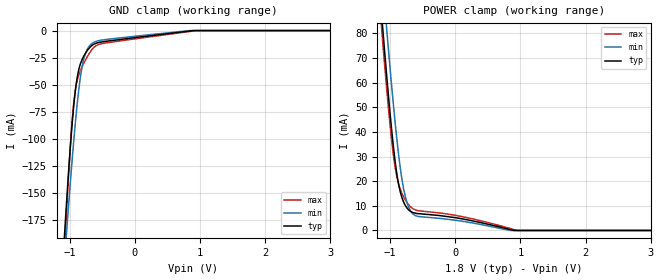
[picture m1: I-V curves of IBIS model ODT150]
| [Disclaimer]  This software code and all associated documentation, comments
| or other information (collectively "Software") is provided
| "AS IS" without warranty of any kind. MICRON TECHNOLOGY, INC.
| ("MTI") EXPRESSLY DISCLAIMS ALL WARRANTIES EXPRESS OR IMPLIED,
| INCLUDING BUT NOT LIMITED TO, NONINFRINGEMENT OF THIRD PARTY
| RIGHTS, AND ANY IMPLIED WARRANTIES OF MERCHANTABILITY OR
| FITNESS FOR ANY PARTICULAR PURPOSE. MTI DOES NOT WARRANT THAT
| THE SOFTWARE WILL MEET YOUR REQUIREMENTS, OR THAT THE
| OPERATION OF THE SOFTWARE WILL BE UNINTERRUPTED OR ERROR-FREE.
| FURTHERMORE, MTI DOES NOT MAKE ANY REPRESENTATIONS REGARDING
| THE USE OR THE RESULTS OF THE USE OF THE SOFTWARE IN TERMS OF
| ITS CORRECTNESS, ACCURACY, RELIABILITY, OR OTHERWISE. THE
| ENTIRE RISK ARISING OUT OF USE OR PERFORMANCE OF THE SOFTWARE
| REMAINS WITH YOU. IN NO EVENT SHALL MTI, ITS AFFILIATED
| COMPANIES OR THEIR SUPPLIERS BE LIABLE FOR ANY DIRECT,
| INDIRECT, CONSEQUENTIAL, INCIDENTAL, OR SPECIAL DAMAGES
| (INCLUDING, WITHOUT LIMITATION, DAMAGES FOR LOSS OF PROFITS,
| BUSINESS INTERRUPTION, OR LOSS OF INFORMATION) ARISING OUT OF
| YOUR USE OF OR INABILITY TO USE THE SOFTWARE, EVEN IF MTI HAS
| BEEN ADVISED OF THE POSSIBILITY OF SUCH DAMAGES. Because some
| jurisdictions prohibit the exclusion or limitation of
| liability for consequential or incidental damages, the above
| limitation may not apply to you.
| [Copyright] Copyright 2003 Micron Technology, Inc. All rights reserved.
| From u27_odt150.ibs, Micron Technology, Inc.
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|   MODEL ODT150
[Model]   ODT150
Model_type   Input
Vinl = 650.000mV
Vinh = 1.150V
|   typ   min   max
C_comp   3.81pF   3.43pF   4.21pF
| Note: C_comp increases when the ODT circuit is enabled.
[Model Spec]
| Input threshold voltage corners
Vinh   0.650V   0.600V   0.700V
Vinl   1.150V   1.100V   1.200V
[Voltage Range]   1.800V   1.700V   1.900V
[Temperature Range]   25.0   85.0   0.0
[GND Clamp]
|   Voltage   I(typ)   I(min)   I(max)
-1.8V     -995.2mA   -876.4mA   -1.231A
-1.09V    -202mA     -223.9mA   NA
-1.07V    -182.3mA   -207mA     NA
-1.05V    -163.1mA   -190.4mA   NA
-960mV    -86.13mA   NA         -83.28mA
-900mV    -50.46mA   NA         -51.15mA
-840mV    -32.1mA    -46.12mA   -38mA
-790mV    -24.61mA   -28.43mA   NA
-730mV    -18.65mA   -17.54mA   NA
-620mV    -12.45mA   NA         NA
900mV     0A         NA         NA
3.6V      0A         0A         0A
[POWER Clamp]
|   Voltage   I(typ)   I(min)   I(max)
-1.8V     324.1mA    339.6mA    320.6mA
-1.14V    90.28mA    NA         84.68mA
-1.12V    83.75mA    NA         78.16mA
-1.1V     77.3mA     96.48mA    71.75mA
-1.06V    64.73mA    NA         59.35mA
-1.04V    58.64mA    NA         53.41mA
-950mV    33.9mA     50.89mA    NA
-870mV    18.68mA    30.66mA    NA
-770mV    10.26mA    14.05mA    NA
-650mV    7.251mA    6.712mA    8.836mA
900mV     0A         NA         NA
3.6V      0A         0A         0A
